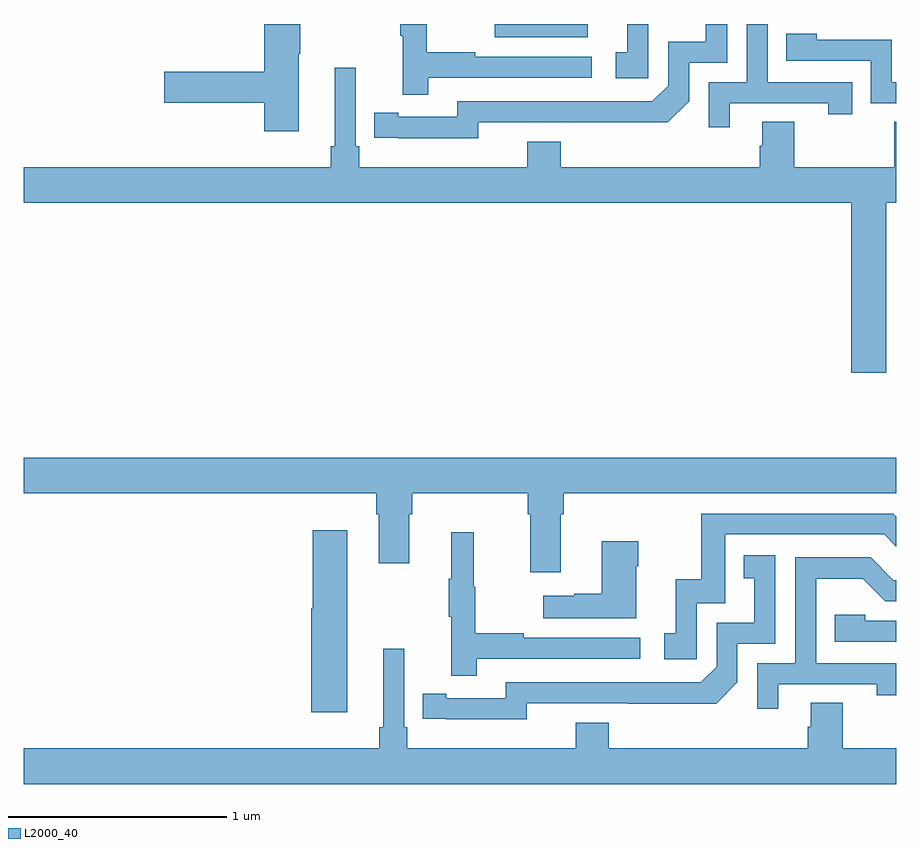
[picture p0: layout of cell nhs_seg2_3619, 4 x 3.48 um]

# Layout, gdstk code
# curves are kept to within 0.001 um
import gdstk
lib = gdstk.Library(unit=1e-6, precision=1e-09)
def R(c, l, rs):  # rectangles x0, y0, x1, y1
    for r in rs: c.add(gdstk.rectangle(r[:2], r[2:], *l))
def P(c, l, *ps):  # polygons
    for p in ps: c.add(gdstk.Polygon(p, *l))
L2000_40 = (2000, 40)

nhs_seg2_3619 = lib.new_cell('nhs_seg2_3619')
R(nhs_seg2_3619, L2000_40, [(303.159,637.739,303.586,637.8)])
P(nhs_seg2_3619, L2000_40, [(303.084,637.35),(303.952,637.349),(304.05,637.446),(304.05,637.623),(304.224,637.623),(304.224,637.8),(304.127,637.8),(304.127,637.719),(303.954,637.719),(303.954,637.518),(303.882,637.446),(302.988,637.446),(302.988,637.374),(302.716,637.374),(302.716,637.394),(302.608,637.394),(302.608,637.278),(303.084,637.277)],
  [(304.237,637.437),(304.688,637.437),(304.688,637.386),(304.799,637.386),(304.799,637.533),(304.41,637.533),(304.41,637.8),(304.314,637.8),(304.314,637.533),(304.14,637.533),(304.14,637.326),(304.237,637.326)],
  [(302.26,637.663),(302.268,637.663),(302.268,637.8),(302.102,637.8),(302.102,637.58),(301.644,637.58),(301.644,637.438),(302.102,637.438),(302.102,637.308),(302.26,637.308)],
  [(302.855,637.554),(303.604,637.554),(303.604,637.65),(303.071,637.65),(303.071,637.67),(302.848,637.67),(302.848,637.8),(302.727,637.8),(302.727,637.747),(302.738,637.747),(302.738,637.476),(302.855,637.476)],
  [(303.864,637.8),(303.767,637.8),(303.767,637.671),(303.714,637.671),(303.714,637.551),(303.864,637.551)],
  [(305,637.533),(304.98,637.533),(304.98,637.728),(304.635,637.728),(304.635,637.755),(304.495,637.755),(304.495,637.632),(304.884,637.632),(304.884,637.437),(305,637.437)],
  [(304.953,636.98),(305,636.98),(305,637.352),(304.99,637.352),(304.99,637.144),(304.533,637.144),(304.533,637.352),(304.385,637.352),(304.385,637.242),(304.373,637.242),(304.373,637.144),(303.461,637.144),(303.461,637.261),(303.308,637.261),(303.308,637.144),(302.537,637.144),(302.537,637.24),(302.523,637.24),(302.523,637.6),(302.426,637.6),(302.426,637.24),(302.407,637.24),(302.407,637.144),(301,637.144),(301,636.98),(304.793,636.98),(304.793,636.201),(304.953,636.201)],
  [(303.463,635.552),(303.476,635.552),(303.476,635.648),(305,635.648),(305,635.812),(301,635.812),(301,635.648),(302.615,635.648),(302.615,635.552),(302.627,635.552),(302.627,635.328),(302.767,635.328),(302.767,635.552),(302.78,635.552),(302.78,635.648),(303.311,635.648),(303.311,635.552),(303.323,635.552),(303.323,635.286),(303.463,635.286)],
  [(304.086,635.145),(304.215,635.145),(304.215,635.46),(304.944,635.46),(305,635.404),(305,635.542),(304.986,635.556),(304.107,635.556),(304.107,635.254),(303.989,635.254),(303.989,635.007),(303.936,635.007),(303.936,634.887),(304.086,634.887)],
  [(302.482,635.479),(302.324,635.479),(302.324,635.121),(302.318,635.121),(302.318,634.644),(302.482,634.644)],
  [(303.077,634.89),(303.826,634.89),(303.826,634.986),(303.293,634.986),(303.293,635.006),(303.07,635.006),(303.07,635.22),(303.062,635.22),(303.062,635.47),(302.96,635.47),(302.96,635.257),(302.949,635.257),(302.949,635.083),(302.96,635.083),(302.96,634.812),(303.077,634.812)],
  [(303.808,635.315),(303.816,635.315),(303.816,635.428),(303.65,635.428),(303.65,635.189),(303.524,635.189),(303.524,635.179),(303.381,635.179),(303.381,635.075),(303.808,635.075)],
  [(303.306,634.686),(304.174,634.685),(304.272,634.782),(304.272,634.959),(304.446,634.959),(304.446,635.365),(304.3,635.365),(304.3,635.259),(304.349,635.259),(304.349,635.055),(304.176,635.055),(304.176,634.854),(304.104,634.782),(303.21,634.782),(303.21,634.71),(302.938,634.71),(302.938,634.73),(302.83,634.73),(302.83,634.614),(303.306,634.613)],
  [(304.459,634.773),(304.91,634.773),(304.91,634.722),(305,634.722),(305,634.869),(304.632,634.869),(304.632,635.258),(304.846,635.258),(304.95,635.154),(305,635.154),(305,635.25),(304.987,635.25),(304.882,635.355),(304.536,635.355),(304.536,634.869),(304.362,634.869),(304.362,634.662),(304.459,634.662)],
  [(305,635.064),(304.857,635.064),(304.857,635.091),(304.717,635.091),(304.717,634.968),(305,634.968)],
  [(305,634.48),(304.755,634.48),(304.755,634.688),(304.607,634.688),(304.607,634.578),(304.595,634.578),(304.595,634.48),(303.683,634.48),(303.683,634.597),(303.53,634.597),(303.53,634.48),(302.759,634.48),(302.759,634.576),(302.745,634.576),(302.745,634.936),(302.648,634.936),(302.648,634.576),(302.629,634.576),(302.629,634.48),(301,634.48),(301,634.316),(305,634.316)])

lib.write_gds('nhs_seg2_3619.gds')
